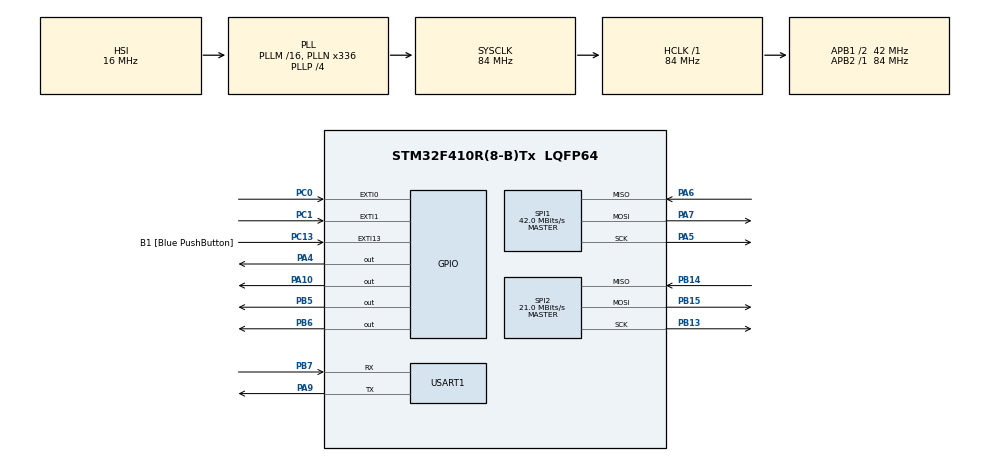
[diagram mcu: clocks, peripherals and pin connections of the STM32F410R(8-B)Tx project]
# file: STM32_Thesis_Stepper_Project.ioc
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Mcu.Family=STM32F4
Mcu.Name=STM32F410R(8-B)Tx
Mcu.Package=LQFP64
NVIC.EXTI0_IRQn=true\:0\:0\:false\:false\:true\:true\:true\:true
NVIC.EXTI15_10_IRQn=true\:0\:0\:false\:false\:true\:true\:true\:true
NVIC.EXTI1_IRQn=true\:0\:0\:false\:false\:true\:true\:true\:true
NVIC.PriorityGroup=NVIC_PRIORITYGROUP_0
NVIC.SPI1_IRQn=true\:0\:0\:false\:false\:true\:true\:true\:true
NVIC.USART1_IRQn=true\:0\:0\:false\:false\:true\:true\:true\:true
PA10.Signal=GPIO_Output
PA13.GPIO_Label=TMS
PA13.Mode=Serial_Wire
PA13.Signal=SYS_JTMS-SWDIO
PA14.GPIO_Label=TCK
PA14.Mode=Serial_Wire
PA14.Signal=SYS_JTCK-SWCLK
PA4.Signal=GPIO_Output
PA5.Mode=Full_Duplex_Master
PA5.Signal=SPI1_SCK
PA6.Mode=Full_Duplex_Master
PA6.Signal=SPI1_MISO
PA7.Mode=Full_Duplex_Master
PA7.Signal=SPI1_MOSI
PA9.Mode=Asynchronous
PA9.Signal=USART1_TX
PB13.Mode=Full_Duplex_Master
PB13.Signal=SPI2_SCK
PB14.Mode=Full_Duplex_Master
PB14.Signal=SPI2_MISO
PB15.Mode=Full_Duplex_Master
PB15.Signal=SPI2_MOSI
PB5.Signal=GPIO_Output
PB6.Signal=GPIO_Output
PB7.GPIO_PuPd=GPIO_PULLDOWN
PB7.Mode=Asynchronous
PB7.Signal=USART1_RX
PC0.Signal=GPXTI0
PC1.Signal=GPXTI1
PC13-ANTI_TAMP.GPIO_Label=B1 [Blue PushButton]
PC13-ANTI_TAMP.GPIO_ModeDefaultEXTI=GPIO_MODE_IT_FALLING
PC13-ANTI_TAMP.Signal=GPXTI13
PC14-OSC32_IN.Mode=LSE-External-Oscillator
PC14-OSC32_IN.Signal=RCC_OSC32_IN
PC15-OSC32_OUT.Mode=LSE-External-Oscillator
PC15-OSC32_OUT.Signal=RCC_OSC32_OUT
PH0\ -\ OSC_IN.Mode=HSE-External-Oscillator
PH0\ -\ OSC_IN.Signal=RCC_OSC_IN
PH1\ -\ OSC_OUT.Mode=HSE-External-Oscillator
PH1\ -\ OSC_OUT.Signal=RCC_OSC_OUT
ProjectManager.HeapSize=0x200
ProjectManager.StackSize=0x400
ProjectManager.TargetToolchain=STM32CubeIDE
RCC.48MHZClocksFreq_Value=84000000
RCC.AHBFreq_Value=84000000
RCC.APB1CLKDivider=RCC_HCLK_DIV2
RCC.APB1Freq_Value=42000000
RCC.APB1TimFreq_Value=84000000
RCC.APB2Freq_Value=84000000
RCC.APB2TimFreq_Value=84000000
RCC.CortexFreq_Value=84000000
RCC.FLatency-AdvancedSettings=FLASH_LATENCY_2
RCC.HCLKFreq_Value=84000000
RCC.HSE_VALUE=8000000
RCC.HSI_VALUE=16000000
RCC.PLLN=336
RCC.PLLP=RCC_PLLP_DIV4
RCC.PWR_Regulator_Voltage_Scale=PWR_REGULATOR_VOLTAGE_SCALE2
RCC.SYSCLKFreq_VALUE=84000000
RCC.SYSCLKSource=RCC_SYSCLKSOURCE_PLLCLK
RCC.VCOOutputFreq_Value=336000000
SPI1.CalculateBaudRate=42.0 MBits/s
SPI1.Direction=SPI_DIRECTION_2LINES
SPI1.Mode=SPI_MODE_MASTER
SPI1.VirtualType=VM_MASTER
SPI2.CalculateBaudRate=21.0 MBits/s
SPI2.Direction=SPI_DIRECTION_2LINES
SPI2.Mode=SPI_MODE_MASTER
SPI2.VirtualType=VM_MASTER
USART1.VirtualMode=VM_ASYNC
board=NUCLEO-F410RB

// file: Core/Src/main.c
/* USER CODE BEGIN Header */
/**
  ******************************************************************************
  * @file           : main.c
  * @brief          : Main program body
  ******************************************************************************
  * @attention
  *
  * Copyright (c) 2025 STMicroelectronics.
  * All rights reserved.
  *
  * This software is licensed under terms that can be found in the LICENSE file
  * in the root directory of this software component.
  * If no LICENSE file comes with this software, it is provided AS-IS.
  *
  ******************************************************************************
  */

// ToDo: Define these GPIO pins and ports: void HAL_GPIO_EXTI_Callback(uint16_t GPIO_Pin)
//
//  switch (GPIO_Pin)
//  {
//  case GPIO_PIN_13:
//    BSP_EmergencyStop();
//    break;
//  case L6470_nBUSY_SYNC_GPIO_PIN:
//    BSP_L6470_BusySynchEventManager();
//    break;
//  case L6470_nFLAG_GPIO_PIN:
//    BSP_L6470_FlagEventManager();
//    break;
//  }

/* USER CODE END Header */
#include "main.h"

/* USER CODE BEGIN Includes */

#include "xnucleoihm02a1.h"
#include "example.h"
#include "xnucleoihm02a1_interface.h"

/* USER CODE END Includes */

/* USER CODE BEGIN PD */

#define MICROSTEPPING_MOTOR_EXAMPLE        //!< Uncomment to performe the standalone example

/* USER CODE END PD */

SPI_HandleTypeDef hspi1;
SPI_HandleTypeDef hspi2;

UART_HandleTypeDef huart1;

void SystemClock_Config(void);
static void MX_GPIO_Init(void);
static void MX_USART1_UART_Init(void);
static void MX_SPI1_Init(void);
static void MX_SPI2_Init(void);

int main(void)
{

  /* MCU Configuration--------------------------------------------------------*/

  /* Reset of all peripherals, Initializes the Flash interface and the Systick. */
  HAL_Init();

  /* Configure the system clock */
  SystemClock_Config();

  /* Initialize all configured peripherals */
  MX_GPIO_Init();
  MX_USART1_UART_Init();
  MX_SPI1_Init();
  MX_SPI2_Init();
  /* USER CODE BEGIN 2 */

////////////////////////////////////////////////////////////////////// See if these are already being configured by the above functions
  /* NUCLEO board initialization */
  // NUCLEO_Board_Init();

  /* X-NUCLEO-IHM02A1 initialization */
  // ToDo: Verify the functions inside this vvv
  BSP_Init();
///////////////////////////////////////////////////////////////////////

#if defined (MICROSTEPPING_MOTOR_EXAMPLE)
  /* Perform a batch commands for X-NUCLEO-IHM02A1 */
  MicrosteppingMotor_Example_01();
#endif
  /* USER CODE END 2 */

  /* Infinite loop */
  while (1)
  {

  }
}

void SystemClock_Config(void)
{
  RCC_OscInitTypeDef RCC_OscInitStruct = {0};
  RCC_ClkInitTypeDef RCC_ClkInitStruct = {0};

  /** Configure the main internal regulator output voltage
  */
  __HAL_RCC_PWR_CLK_ENABLE();
  __HAL_PWR_VOLTAGESCALING_CONFIG(PWR_REGULATOR_VOLTAGE_SCALE2);

  /** Initializes the RCC Oscillators according to the specified parameters
  * in the RCC_OscInitTypeDef structure.
  */
  RCC_OscInitStruct.OscillatorType = RCC_OSCILLATORTYPE_HSI;
  RCC_OscInitStruct.HSIState = RCC_HSI_ON;
  RCC_OscInitStruct.HSICalibrationValue = RCC_HSICALIBRATION_DEFAULT;
  RCC_OscInitStruct.PLL.PLLState = RCC_PLL_ON;
  RCC_OscInitStruct.PLL.PLLSource = RCC_PLLSOURCE_HSI;
  RCC_OscInitStruct.PLL.PLLM = 16;
  RCC_OscInitStruct.PLL.PLLN = 336;
  RCC_OscInitStruct.PLL.PLLP = RCC_PLLP_DIV4;
  RCC_OscInitStruct.PLL.PLLQ = 4;
  RCC_OscInitStruct.PLL.PLLR = 2;
  if (HAL_RCC_OscConfig(&RCC_OscInitStruct) != HAL_OK)
  {
    Error_Handler();
  }

  /** Initializes the CPU, AHB and APB buses clocks
  */
  RCC_ClkInitStruct.ClockType = RCC_CLOCKTYPE_HCLK|RCC_CLOCKTYPE_SYSCLK
                              |RCC_CLOCKTYPE_PCLK1|RCC_CLOCKTYPE_PCLK2;
  RCC_ClkInitStruct.SYSCLKSource = RCC_SYSCLKSOURCE_PLLCLK;
  RCC_ClkInitStruct.AHBCLKDivider = RCC_SYSCLK_DIV1;
  RCC_ClkInitStruct.APB1CLKDivider = RCC_HCLK_DIV2;
  RCC_ClkInitStruct.APB2CLKDivider = RCC_HCLK_DIV1;

  if (HAL_RCC_ClockConfig(&RCC_ClkInitStruct, FLASH_LATENCY_2) != HAL_OK)
  {
    Error_Handler();
  }
}

static void MX_SPI1_Init(void)
{

  /* SPI1 parameter configuration*/
  hspi1.Instance = SPI1;
  hspi1.Init.Mode = SPI_MODE_MASTER;
  hspi1.Init.Direction = SPI_DIRECTION_2LINES;
  hspi1.Init.DataSize = SPI_DATASIZE_8BIT;
  hspi1.Init.CLKPolarity = SPI_POLARITY_LOW;
  hspi1.Init.CLKPhase = SPI_PHASE_1EDGE;
  hspi1.Init.NSS = SPI_NSS_SOFT;
  hspi1.Init.BaudRatePrescaler = SPI_BAUDRATEPRESCALER_2;
  hspi1.Init.FirstBit = SPI_FIRSTBIT_MSB;
  hspi1.Init.TIMode = SPI_TIMODE_DISABLE;
  hspi1.Init.CRCCalculation = SPI_CRCCALCULATION_DISABLE;
  hspi1.Init.CRCPolynomial = 15;
  if (HAL_SPI_Init(&hspi1) != HAL_OK)
  {
    Error_Handler();
  }
  /* USER CODE BEGIN SPI1_Init 2 */
#define MAX_BAUDRATE  5000000
 uint32_t freq;
 uint16_t freq_div;
 uint32_t spi_baudrateprescaler;

 hspi1.Instance = SPI1;
 hspi1.Init.Mode = SPI_MODE_MASTER;
 hspi1.Init.Direction = SPI_DIRECTION_2LINES;
 hspi1.Init.DataSize = SPI_DATASIZE_8BIT;
 hspi1.Init.CLKPolarity = SPI_POLARITY_HIGH;
 hspi1.Init.CLKPhase = SPI_PHASE_2EDGE;
 hspi1.Init.NSS = SPI_NSS_SOFT;
 hspi1.Init.FirstBit = SPI_FIRSTBIT_MSB;
 hspi1.Init.TIMode = SPI_TIMODE_DISABLED;
 hspi1.Init.CRCCalculation = SPI_CRCCALCULATION_DISABLED;

 freq = HAL_RCC_GetPCLK2Freq();
 freq_div = (freq / MAX_BAUDRATE);

 if (freq_div < 2)
 {
   spi_baudrateprescaler = SPI_BAUDRATEPRESCALER_2;
 }
 else
 {
   if (freq_div < 4)
   {
     spi_baudrateprescaler = SPI_BAUDRATEPRESCALER_4;
   }
   else
   {
     if (freq_div < 8)
     {
       spi_baudrateprescaler = SPI_BAUDRATEPRESCALER_8;
     }
     else
     {
       if (freq_div < 16)
       {
         spi_baudrateprescaler = SPI_BAUDRATEPRESCALER_16;
       }
       else
       {
         if (freq_div < 32)
         {
           spi_baudrateprescaler = SPI_BAUDRATEPRESCALER_32;
         }
         else
         {
           if (freq_div < 64)
           {
             spi_baudrateprescaler = SPI_BAUDRATEPRESCALER_64;
           }
           else
           {
             if (freq_div < 128)
             {
               spi_baudrateprescaler = SPI_BAUDRATEPRESCALER_128;
             }
             else
             {
               if (freq_div < 256)
               {
                 spi_baudrateprescaler = SPI_BAUDRATEPRESCALER_256;
               }
               else
               {
                 /* the condition is not possible, you should reduce the CPU frequency */
                 while(1);
               }
             }
           }
         }
       }
     }
   }
 }

 hspi1.Init.BaudRatePrescaler = spi_baudrateprescaler;  // the baudrate will be lower than MAX_BAUDRATE (5 MBits/s)
 HAL_SPI_Init(&hspi1);
  /* USER CODE END SPI1_Init 2 */

}

static void MX_SPI2_Init(void)
{

  /* SPI2 parameter configuration*/
  hspi2.Instance = SPI2;
  hspi2.Init.Mode = SPI_MODE_MASTER;
  hspi2.Init.Direction = SPI_DIRECTION_2LINES;
  hspi2.Init.DataSize = SPI_DATASIZE_8BIT;
  hspi2.Init.CLKPolarity = SPI_POLARITY_LOW;
  hspi2.Init.CLKPhase = SPI_PHASE_1EDGE;
  hspi2.Init.NSS = SPI_NSS_SOFT;
  hspi2.Init.BaudRatePrescaler = SPI_BAUDRATEPRESCALER_2;
  hspi2.Init.FirstBit = SPI_FIRSTBIT_MSB;
  hspi2.Init.TIMode = SPI_TIMODE_DISABLE;
  hspi2.Init.CRCCalculation = SPI_CRCCALCULATION_DISABLE;
  hspi2.Init.CRCPolynomial = 15;
  if (HAL_SPI_Init(&hspi2) != HAL_OK)
  {
    Error_Handler();
  }
  /* USER CODE BEGIN SPI2_Init 2 */
#define MAX_BAUDRATE  5000000
uint32_t freq;
uint16_t freq_div;
uint32_t spi_baudrateprescaler;

hspi2.Instance = SPI2;
hspi2.Init.Mode = SPI_MODE_MASTER;
hspi2.Init.Direction = SPI_DIRECTION_2LINES;
hspi2.Init.DataSize = SPI_DATASIZE_8BIT;
hspi2.Init.CLKPolarity = SPI_POLARITY_HIGH;
hspi2.Init.CLKPhase = SPI_PHASE_2EDGE;
hspi2.Init.NSS = SPI_NSS_SOFT;
hspi2.Init.FirstBit = SPI_FIRSTBIT_MSB;
hspi2.Init.TIMode = SPI_TIMODE_DISABLED;
hspi2.Init.CRCCalculation = SPI_CRCCALCULATION_DISABLED;

freq = HAL_RCC_GetPCLK1Freq();
freq_div = (freq / MAX_BAUDRATE);

if (freq_div < 2)
{
  spi_baudrateprescaler = SPI_BAUDRATEPRESCALER_2;
}
else
{
  if (freq_div < 4)
  {
    spi_baudrateprescaler = SPI_BAUDRATEPRESCALER_4;
  }
  else
  {
    if (freq_div < 8)
    {
      spi_baudrateprescaler = SPI_BAUDRATEPRESCALER_8;
    }
    else
    {
      if (freq_div < 16)
      {
        spi_baudrateprescaler = SPI_BAUDRATEPRESCALER_16;
      }
      else
      {
        if (freq_div < 32)
        {
          spi_baudrateprescaler = SPI_BAUDRATEPRESCALER_32;
        }
        else
        {
          if (freq_div < 64)
          {
            spi_baudrateprescaler = SPI_BAUDRATEPRESCALER_64;
          }
          else
          {
            if (freq_div < 128)
            {
              spi_baudrateprescaler = SPI_BAUDRATEPRESCALER_128;
            }
            else
            {
              if (freq_div < 256)
              {
                spi_baudrateprescaler = SPI_BAUDRATEPRESCALER_256;
              }
              else
              {
                /* the condition is not possible, you should reduce the CPU frequency */
                while(1);
              }
            }
          }
        }
      }
    }
  }
}

hspi2.Init.BaudRatePrescaler = spi_baudrateprescaler; // the baudrate will be lower than MAX_BAUDRATE (5 MBits/s)
HAL_SPI_Init(&hspi2);
  /* USER CODE END SPI2_Init 2 */

}

static void MX_USART1_UART_Init(void)
{

  huart1.Instance = USART1;
  huart1.Init.BaudRate = 115200;
  huart1.Init.WordLength = UART_WORDLENGTH_8B;
  huart1.Init.StopBits = UART_STOPBITS_1;
  huart1.Init.Parity = UART_PARITY_NONE;
  huart1.Init.Mode = UART_MODE_TX_RX;
  huart1.Init.HwFlowCtl = UART_HWCONTROL_NONE;
  huart1.Init.OverSampling = UART_OVERSAMPLING_16;
  if (HAL_UART_Init(&huart1) != HAL_OK)
  {
    Error_Handler();
  }

}

static void MX_GPIO_Init(void)
{
  GPIO_InitTypeDef GPIO_InitStruct = {0};

  /* GPIO Ports Clock Enable */
  __HAL_RCC_GPIOC_CLK_ENABLE();
  __HAL_RCC_GPIOH_CLK_ENABLE();
  __HAL_RCC_GPIOA_CLK_ENABLE();
  __HAL_RCC_GPIOB_CLK_ENABLE();

  /*Configure GPIO pin Output Level */
  HAL_GPIO_WritePin(GPIOA, GPIO_PIN_4|GPIO_PIN_10, GPIO_PIN_RESET);

  /*Configure GPIO pin Output Level */
  HAL_GPIO_WritePin(GPIOB, GPIO_PIN_5|GPIO_PIN_6, GPIO_PIN_RESET);

  /*Configure GPIO pin : B1_Pin */
  GPIO_InitStruct.Pin = B1_Pin;
  GPIO_InitStruct.Mode = GPIO_MODE_IT_FALLING;
  GPIO_InitStruct.Pull = GPIO_NOPULL;
  HAL_GPIO_Init(B1_GPIO_Port, &GPIO_InitStruct);

  /*Configure GPIO pins : PC0 PC1 */
  GPIO_InitStruct.Pin = GPIO_PIN_0|GPIO_PIN_1;
  GPIO_InitStruct.Mode = GPIO_MODE_IT_RISING;
  GPIO_InitStruct.Pull = GPIO_NOPULL;
  HAL_GPIO_Init(GPIOC, &GPIO_InitStruct);

  /*Configure GPIO pins : PC2 PC3 PC4 PC5
                           PC6 PC7 PC8 PC9
                           PC10 PC11 PC12 */
  GPIO_InitStruct.Pin = GPIO_PIN_2|GPIO_PIN_3|GPIO_PIN_4|GPIO_PIN_5
                          |GPIO_PIN_6|GPIO_PIN_7|GPIO_PIN_8|GPIO_PIN_9
                          |GPIO_PIN_10|GPIO_PIN_11|GPIO_PIN_12;
  GPIO_InitStruct.Mode = GPIO_MODE_ANALOG;
  GPIO_InitStruct.Pull = GPIO_NOPULL;
  HAL_GPIO_Init(GPIOC, &GPIO_InitStruct);

  /*Configure GPIO pins : PA0 PA1 PA2 PA3
                           PA8 PA11 PA12 PA15 */
  GPIO_InitStruct.Pin = GPIO_PIN_0|GPIO_PIN_1|GPIO_PIN_2|GPIO_PIN_3
                          |GPIO_PIN_8|GPIO_PIN_11|GPIO_PIN_12|GPIO_PIN_15;
  GPIO_InitStruct.Mode = GPIO_MODE_ANALOG;
  GPIO_InitStruct.Pull = GPIO_NOPULL;
  HAL_GPIO_Init(GPIOA, &GPIO_InitStruct);

  /*Configure GPIO pins : PA4 PA10 */
  GPIO_InitStruct.Pin = GPIO_PIN_4|GPIO_PIN_10;
  GPIO_InitStruct.Mode = GPIO_MODE_OUTPUT_PP;
  GPIO_InitStruct.Pull = GPIO_NOPULL;
  GPIO_InitStruct.Speed = GPIO_SPEED_FREQ_LOW;
  HAL_GPIO_Init(GPIOA, &GPIO_InitStruct);

  /*Configure GPIO pins : PB0 PB1 PB2 PB10
                           PB12 PB11 PB3 PB4
                           PB8 PB9 */
  GPIO_InitStruct.Pin = GPIO_PIN_0|GPIO_PIN_1|GPIO_PIN_2|GPIO_PIN_10
                          |GPIO_PIN_12|GPIO_PIN_11|GPIO_PIN_3|GPIO_PIN_4
                          |GPIO_PIN_8|GPIO_PIN_9;
  GPIO_InitStruct.Mode = GPIO_MODE_ANALOG;
  GPIO_InitStruct.Pull = GPIO_NOPULL;
  HAL_GPIO_Init(GPIOB, &GPIO_InitStruct);

  /*Configure GPIO pins : PB5 PB6 */
  GPIO_InitStruct.Pin = GPIO_PIN_5|GPIO_PIN_6;
  GPIO_InitStruct.Mode = GPIO_MODE_OUTPUT_PP;
  GPIO_InitStruct.Pull = GPIO_NOPULL;
  GPIO_InitStruct.Speed = GPIO_SPEED_FREQ_LOW;
  HAL_GPIO_Init(GPIOB, &GPIO_InitStruct);

  /* EXTI interrupt init*/
  HAL_NVIC_SetPriority(EXTI0_IRQn, 0, 0);
  HAL_NVIC_EnableIRQ(EXTI0_IRQn);

  HAL_NVIC_SetPriority(EXTI1_IRQn, 0, 0);
  HAL_NVIC_EnableIRQ(EXTI1_IRQn);

  HAL_NVIC_SetPriority(EXTI15_10_IRQn, 0, 0);
  HAL_NVIC_EnableIRQ(EXTI15_10_IRQn);

}

void Error_Handler(void)
{
  __disable_irq();
  while (1)
  {
  }
}
